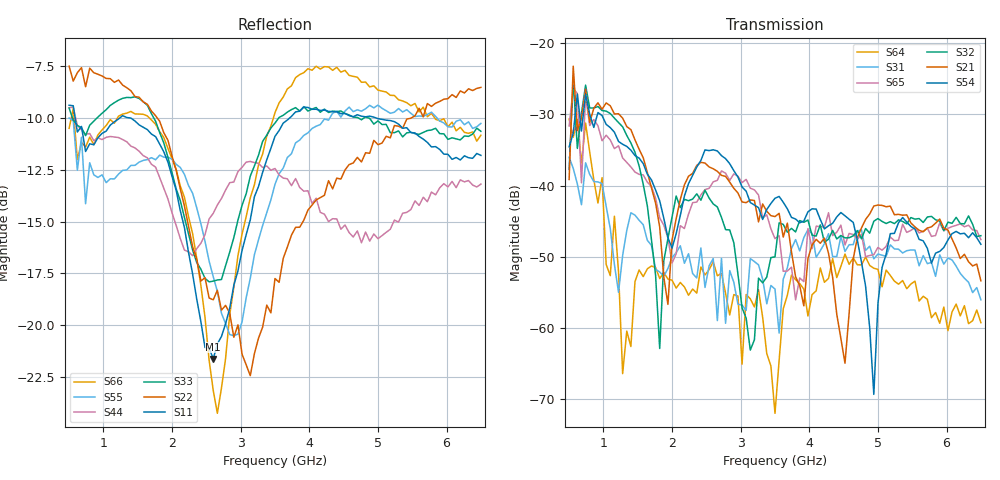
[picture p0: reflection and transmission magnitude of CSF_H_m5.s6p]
!Keysight Technologies,M9804A,MY58100912,A.14.10.03
!Date: Thursday, April 27, 2023 10:28:33
!Correction: S11(C  6-Port  )
!S12(C  6-Port  )
!S13(C  6-Port  )
!S14(C  6-Port  )
!S15(C  6-Port  )
!S16(C  6-Port  )
!S21(C  6-Port  )
!S22(C  6-Port  )
!S23(C  6-Port  )
!S24(C  6-Port  )
!S25(C  6-Port  )
!S26(C  6-Port  )
!S31(C  6-Port  )
!S32(C  6-Port  )
!S33(C  6-Port  )
!S34(C  6-Port  )
!S35(C  6-Port  )
!S36(C  6-Port  )
!S41(C  6-Port  )
!S42(C  6-Port  )
!S43(C  6-Port  )
!S44(C  6-Port  )
!S45(C  6-Port  )
!S46(C  6-Port  )
!S51(C  6-Port  )
!S52(C  6-Port  )
!S53(C  6-Port  )
!S54(C  6-Port  )
!S55(C  6-Port  )
!S56(C  6-Port  )
!S61(C  6-Port  )
!S62(C  6-Port  )
!S63(C  6-Port  )
!S64(C  6-Port  )
!S65(C  6-Port  )
!S66(C  6-Port  )
!S6P File: Measurement: :
# Hz S  RI  R 50
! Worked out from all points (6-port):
!   101 points, 500 MHz to 6.5 GHz, reference 50 ohm
!   strongest paths, dB at 500 MHz, 2 GHz, 3.5 GHz, 5 GHz, 6.5 GHz:
!     S54: -34.6, -48.8, -41.8, -56.6, -48.2
!     S21: -39.1, -47.6, -44.3, -42.7, -53.4
!     S32: -37.7, -44.4, -50.0, -44.6, -47.0
!     S65: -31.6, -50.9, -47.4, -48.7, -47.6
!     S31: -36.0, -50.1, -54.5, -49.6, -56.0
!     S64: -30.6, -53.3, -72.0, -51.8, -59.3
!   lowest |S11| = -21.6 dB at 2.6 GHz (marker M1), VSWR 1.18, Z = 42.6 + j2.01 ohm
!   |S11| at or under -10 dB: 587.8 MHz to 1.238 GHz (650.7 MHz wide, 71.3 % of centre); 1.385 GHz to 3.714 GHz (2.329 GHz wide, 91.3 % of centre); 4.971 GHz to end of sweep
